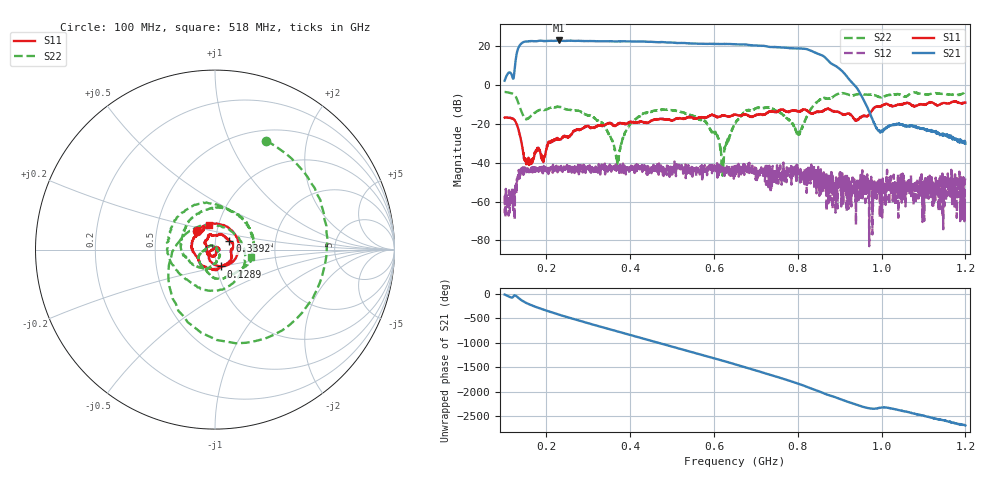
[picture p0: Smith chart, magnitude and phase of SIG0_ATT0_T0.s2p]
# Hz S DB R 50
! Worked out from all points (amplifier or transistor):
!   1601 points, 100 MHz to 1.2 GHz, reference 50 ohm
!   highest |S21| = 23.0 dB at 229.2 MHz (marker M1)
!   |S21| within 3 dB of that: 134.6 MHz to 725.7 MHz (591.1 MHz wide, 137 % of centre)
!   unconditionally stable (mu >= 1): start of sweep to end of sweep
!   at 282.9 MHz: K = 4.08, MAG = 23.0 dB, |S12| = -41.3 dB
!   at 650 MHz: K = 8.94, MAG = 21.2 dB, |S12| = -46.4 dB
!   at 1.2 GHz: K = 1983.17, MAG = -27.1 dB, |S12| = -48.0 dB
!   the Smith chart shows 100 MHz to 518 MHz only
!   S11 on the Smith chart (normalised r, x): 100 MHz: 0.80, +0.17; 128.9 MHz: 1.05, -0.20; 339.2 MHz: 1.17, +0.12; 518 MHz: 0.90, +0.26
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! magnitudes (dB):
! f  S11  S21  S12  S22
! 100 MHz  -16.7  2.3  -57.0  -3.5
! 119.9 MHz  -17.3  3.4  -62.1  -4.4
! 128.9 MHz  -20.0  16.2  -48.1  -7.0
! 157.1 MHz  -37.4  22.5  -43.7  -17.1
! 229.2 MHz  -28.0  23.0  -43.2  -11.2
! 283.6 MHz  -22.6  22.7  -42.4  -13.8
! 339.2 MHz  -20.5  22.6  -40.4  -21.6
! 369.5 MHz  -20.1  22.5  -41.7  -37.4
! 401.8 MHz  -19.1  22.5  -41.6  -19.3
! 467.1 MHz  -17.6  22.1  -41.1  -12.9
! 518 MHz  -16.9  21.7  -42.6  -13.7
! 579.9 MHz  -16.7  21.2  -44.6  -18.6
! 607.4 MHz  -16.2  21.2  -40.2  -25.5
! 620.4 MHz  -15.6  21.2  -42.1  -46.7
! 650 MHz  -15.2  21.0  -46.4  -19.8
! 731.1 MHz  -13.6  19.7  -46.3  -11.4
! 801.2 MHz  -13.5  18.9  -43.4  -24.1
! 833.6 MHz  -14.8  17.5  -42.7  -11.6
! 936.7 MHz  -17.7  -0.3  -54.0  -5.0
! 992.4 MHz  -11.1  -23.6  -49.3  -6.0
! 1.017 GHz  -10.1  -21.3  -57.2  -5.0
! 1.2 GHz  -9.0  -30.1  -48.0  -3.6
